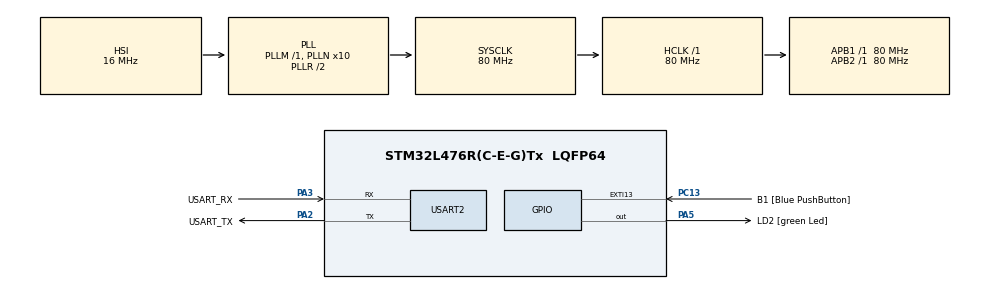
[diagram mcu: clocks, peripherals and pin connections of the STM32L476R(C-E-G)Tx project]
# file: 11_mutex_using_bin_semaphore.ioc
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FREERTOS.INCLUDE_vTaskDelayUntil=1
FREERTOS.Tasks01=defaultTask,0,128,StartDefaultTask,Default,NULL,Dynamic,NULL,NULL
Mcu.Family=STM32L4
Mcu.Name=STM32L476R(C-E-G)Tx
Mcu.Package=LQFP64
NVIC.PriorityGroup=NVIC_PRIORITYGROUP_4
PA13\ (JTMS-SWDIO).GPIO_Label=TMS
PA13\ (JTMS-SWDIO).Mode=Serial_Wire
PA13\ (JTMS-SWDIO).Signal=SYS_JTMS-SWDIO
PA14\ (JTCK-SWCLK).GPIO_Label=TCK
PA14\ (JTCK-SWCLK).Mode=Serial_Wire
PA14\ (JTCK-SWCLK).Signal=SYS_JTCK-SWCLK
PA2.GPIO_Label=USART_TX
PA2.GPIO_Mode=GPIO_MODE_AF_PP
PA2.GPIO_PuPd=GPIO_NOPULL
PA2.GPIO_Speed=GPIO_SPEED_FREQ_VERY_HIGH
PA2.Mode=Asynchronous
PA2.Signal=USART2_TX
PA3.GPIO_Label=USART_RX
PA3.GPIO_Mode=GPIO_MODE_AF_PP
PA3.GPIO_PuPd=GPIO_NOPULL
PA3.GPIO_Speed=GPIO_SPEED_FREQ_VERY_HIGH
PA3.Mode=Asynchronous
PA3.Signal=USART2_RX
PA5.GPIO_Label=LD2 [green Led]
PA5.GPIO_ModeDefaultOutputPP=GPIO_MODE_OUTPUT_PP
PA5.GPIO_PuPd=GPIO_NOPULL
PA5.GPIO_Speed=GPIO_SPEED_FREQ_LOW
PA5.Signal=GPIO_Output
PB3\ (JTDO-TRACESWO).GPIO_Label=SWO
PB3\ (JTDO-TRACESWO).Signal=SYS_JTDO-SWO
PC13.GPIO_Label=B1 [Blue PushButton]
PC13.GPIO_ModeDefaultEXTI=GPIO_MODE_IT_FALLING
PC13.GPIO_PuPd=GPIO_NOPULL
PC13.Signal=GPXTI13
PC14-OSC32_IN\ (PC14).Mode=LSE-External-Oscillator
PC14-OSC32_IN\ (PC14).Signal=RCC_OSC32_IN
PC15-OSC32_OUT\ (PC15).Mode=LSE-External-Oscillator
PC15-OSC32_OUT\ (PC15).Signal=RCC_OSC32_OUT
PH0-OSC_IN\ (PH0).Signal=RCC_OSC_IN
PH1-OSC_OUT\ (PH1).Signal=RCC_OSC_OUT
ProjectManager.HeapSize=0x200
ProjectManager.StackSize=0x400
ProjectManager.TargetToolchain=STM32CubeIDE
RCC.ADCFreq_Value=64000000
RCC.AHBFreq_Value=80000000
RCC.APB1Freq_Value=80000000
RCC.APB1TimFreq_Value=80000000
RCC.APB2Freq_Value=80000000
RCC.APB2TimFreq_Value=80000000
RCC.CortexFreq_Value=80000000
RCC.HCLKFreq_Value=80000000
RCC.HSE_VALUE=8000000
RCC.HSI_VALUE=16000000
RCC.MSI_VALUE=4000000
RCC.PLLN=10
RCC.PLLSourceVirtual=RCC_PLLSOURCE_HSI
RCC.PREFETCH_ENABLE=1
RCC.SYSCLKFreq_VALUE=80000000
RCC.SYSCLKSource=RCC_SYSCLKSOURCE_PLLCLK
RCC.USBFreq_Value=64000000
RCC.VCOOutputFreq_Value=160000000
USART2.VirtualMode-Asynchronous=VM_ASYNC
VP_FREERTOS_VS_CMSIS_V1.Mode=CMSIS_V1
board=NUCLEO-L476RG

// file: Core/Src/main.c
/* USER CODE BEGIN Header */
/**
  ******************************************************************************
  * @file           : main.c
  * @brief          : Main program body
  ******************************************************************************
  * @attention
  *
  * Copyright (c) 2025 STMicroelectronics.
  * All rights reserved.
  *
  * This software is licensed under terms that can be found in the LICENSE file
  * in the root directory of this software component.
  * If no LICENSE file comes with this software, it is provided AS-IS.
  *
  ******************************************************************************
  */
/* USER CODE END Header */
#include "main.h"
#include "cmsis_os.h"

/* USER CODE BEGIN Includes */
#include<stdio.h>
#include<stdarg.h>

/* USER CODE END Includes */

UART_HandleTypeDef huart2;

osThreadId defaultTaskHandle;

void SystemClock_Config(void);
static void MX_GPIO_Init(void);
static void MX_USART2_UART_Init(void);
void StartDefaultTask(void const * argument);

/* USER CODE BEGIN 0 */
xSemaphoreHandle sem;
void debug_printf(const char *fmt, ...)
{
	char buffer[256];
	va_list args;
	va_start(args, fmt);
	vsnprintf(buffer, sizeof(buffer), fmt, args);
	va_end(args);
	uint16_t i = 0;
	while(buffer[i] != '\0')
	{
		ITM_SendChar(buffer[i]);
		i++;
	}
}

void vTask1(void *vParams)
{
	while(1)
	{
		xSemaphoreTake(sem,portMAX_DELAY);
		debug_printf("Task 1 is running\r\n");
		xSemaphoreGive(sem);
		vTaskDelay(500/portTICK_RATE_MS);
	}
}
void vTask2(void *vParams)
{
	while(1)
	{
		xSemaphoreTake(sem,portMAX_DELAY);
		debug_printf("Task 2 is running\r\n");
		xSemaphoreGive(sem);
		vTaskDelay(500/portTICK_RATE_MS);
	}

}

/* USER CODE END 0 */

int main(void)
{

  /* MCU Configuration--------------------------------------------------------*/

  /* Reset of all peripherals, Initializes the Flash interface and the Systick. */
  HAL_Init();

  /* Configure the system clock */
  SystemClock_Config();

  /* Initialize all configured peripherals */
  MX_GPIO_Init();
  MX_USART2_UART_Init();

  /* Create the thread(s) */
  /* definition and creation of defaultTask */
  osThreadDef(defaultTask, StartDefaultTask, osPriorityNormal, 0, 128);
  defaultTaskHandle = osThreadCreate(osThread(defaultTask), NULL);

  /* USER CODE BEGIN RTOS_THREADS */
  /* add threads, ... */
  vSemaphoreCreateBinary(sem);
  if(sem!=NULL)
  {
	  xTaskCreate(vTask1,"task1",200,NULL,2,NULL);
	  xTaskCreate(vTask2,"task2",200,NULL,2,NULL);

	  vTaskStartScheduler();
  }
  else
  {
	  debug_printf("semaphore is not created\r\n");
  }
  /* USER CODE END RTOS_THREADS */

  /* Start scheduler */
  osKernelStart();

  /* We should never get here as control is now taken by the scheduler */

  /* Infinite loop */
  while (1)
  {

  }
}

void SystemClock_Config(void)
{
  RCC_OscInitTypeDef RCC_OscInitStruct = {0};
  RCC_ClkInitTypeDef RCC_ClkInitStruct = {0};

  /** Configure the main internal regulator output voltage
  */
  if (HAL_PWREx_ControlVoltageScaling(PWR_REGULATOR_VOLTAGE_SCALE1) != HAL_OK)
  {
    Error_Handler();
  }

  /** Initializes the RCC Oscillators according to the specified parameters
  * in the RCC_OscInitTypeDef structure.
  */
  RCC_OscInitStruct.OscillatorType = RCC_OSCILLATORTYPE_HSI;
  RCC_OscInitStruct.HSIState = RCC_HSI_ON;
  RCC_OscInitStruct.HSICalibrationValue = RCC_HSICALIBRATION_DEFAULT;
  RCC_OscInitStruct.PLL.PLLState = RCC_PLL_ON;
  RCC_OscInitStruct.PLL.PLLSource = RCC_PLLSOURCE_HSI;
  RCC_OscInitStruct.PLL.PLLM = 1;
  RCC_OscInitStruct.PLL.PLLN = 10;
  RCC_OscInitStruct.PLL.PLLP = RCC_PLLP_DIV7;
  RCC_OscInitStruct.PLL.PLLQ = RCC_PLLQ_DIV2;
  RCC_OscInitStruct.PLL.PLLR = RCC_PLLR_DIV2;
  if (HAL_RCC_OscConfig(&RCC_OscInitStruct) != HAL_OK)
  {
    Error_Handler();
  }

  /** Initializes the CPU, AHB and APB buses clocks
  */
  RCC_ClkInitStruct.ClockType = RCC_CLOCKTYPE_HCLK|RCC_CLOCKTYPE_SYSCLK
                              |RCC_CLOCKTYPE_PCLK1|RCC_CLOCKTYPE_PCLK2;
  RCC_ClkInitStruct.SYSCLKSource = RCC_SYSCLKSOURCE_PLLCLK;
  RCC_ClkInitStruct.AHBCLKDivider = RCC_SYSCLK_DIV1;
  RCC_ClkInitStruct.APB1CLKDivider = RCC_HCLK_DIV1;
  RCC_ClkInitStruct.APB2CLKDivider = RCC_HCLK_DIV1;

  if (HAL_RCC_ClockConfig(&RCC_ClkInitStruct, FLASH_LATENCY_4) != HAL_OK)
  {
    Error_Handler();
  }
}

static void MX_USART2_UART_Init(void)
{

  huart2.Instance = USART2;
  huart2.Init.BaudRate = 115200;
  huart2.Init.WordLength = UART_WORDLENGTH_8B;
  huart2.Init.StopBits = UART_STOPBITS_1;
  huart2.Init.Parity = UART_PARITY_NONE;
  huart2.Init.Mode = UART_MODE_TX_RX;
  huart2.Init.HwFlowCtl = UART_HWCONTROL_NONE;
  huart2.Init.OverSampling = UART_OVERSAMPLING_16;
  huart2.Init.OneBitSampling = UART_ONE_BIT_SAMPLE_DISABLE;
  huart2.AdvancedInit.AdvFeatureInit = UART_ADVFEATURE_NO_INIT;
  if (HAL_UART_Init(&huart2) != HAL_OK)
  {
    Error_Handler();
  }

}

static void MX_GPIO_Init(void)
{
  GPIO_InitTypeDef GPIO_InitStruct = {0};

  /* GPIO Ports Clock Enable */
  __HAL_RCC_GPIOC_CLK_ENABLE();
  __HAL_RCC_GPIOH_CLK_ENABLE();
  __HAL_RCC_GPIOA_CLK_ENABLE();
  __HAL_RCC_GPIOB_CLK_ENABLE();

  /*Configure GPIO pin Output Level */
  HAL_GPIO_WritePin(LD2_GPIO_Port, LD2_Pin, GPIO_PIN_RESET);

  /*Configure GPIO pin : B1_Pin */
  GPIO_InitStruct.Pin = B1_Pin;
  GPIO_InitStruct.Mode = GPIO_MODE_IT_FALLING;
  GPIO_InitStruct.Pull = GPIO_NOPULL;
  HAL_GPIO_Init(B1_GPIO_Port, &GPIO_InitStruct);

  /*Configure GPIO pin : LD2_Pin */
  GPIO_InitStruct.Pin = LD2_Pin;
  GPIO_InitStruct.Mode = GPIO_MODE_OUTPUT_PP;
  GPIO_InitStruct.Pull = GPIO_NOPULL;
  GPIO_InitStruct.Speed = GPIO_SPEED_FREQ_LOW;
  HAL_GPIO_Init(LD2_GPIO_Port, &GPIO_InitStruct);

}

void StartDefaultTask(void const * argument)
{
  for(;;)
  {
    osDelay(1);
  }
}

void Error_Handler(void)
{
  __disable_irq();
  while (1)
  {
  }
}
